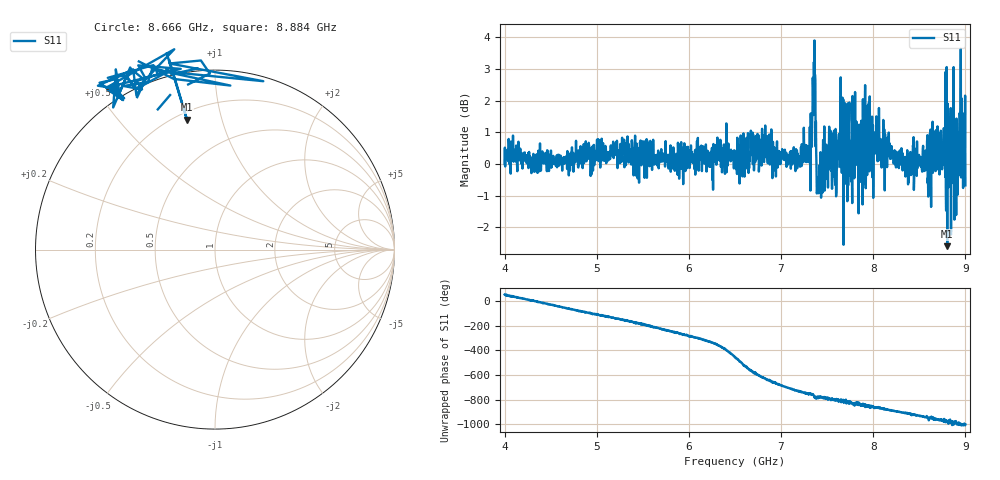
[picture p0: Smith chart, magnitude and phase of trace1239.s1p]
! Created with skrf 1.8.0 (http://scikit-rf.org).
# Hz S RI R 50.0
!freq ReS11 ImS11
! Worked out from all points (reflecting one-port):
!   1601 points, 4 GHz to 9 GHz, reference 50 ohm
!   lowest |S11| = -2.6 dB at 8.803 GHz (marker M1), VSWR 6.73, Z = 12.1 + j38.9 ohm
!   phase of S11 starts at 51 deg and turns -1051 deg over the sweep
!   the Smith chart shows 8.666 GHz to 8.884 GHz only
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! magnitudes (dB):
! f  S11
! 4 GHz  0.0
! 4.625 GHz  -0.2
! 5.25 GHz  0.0
! 5.875 GHz  0.2
! 6.5 GHz  -0.1
! 6.759 GHz  -0.2
! 7.125 GHz  0.2
! 7.294 GHz  0.1
! 7.316 GHz  0.2
! 7.347 GHz  2.4
! 7.369 GHz  2.8
! 7.4 GHz  -0.9
! 7.412 GHz  -0.9
! 7.512 GHz  0.4
! 7.603 GHz  0.0
! 7.65 GHz  0.4
! 7.703 GHz  -0.2
! 7.75 GHz  -0.1
! 7.769 GHz  -0.4
! 7.8 GHz  -0.4
! 7.928 GHz  1.3
! 8.375 GHz  0.1
! 8.616 GHz  1.0
! 8.656 GHz  1.0
! 8.803 GHz  -2.6
! 8.906 GHz  0.8
! 8.959 GHz  2.1
! 9 GHz  -0.7
